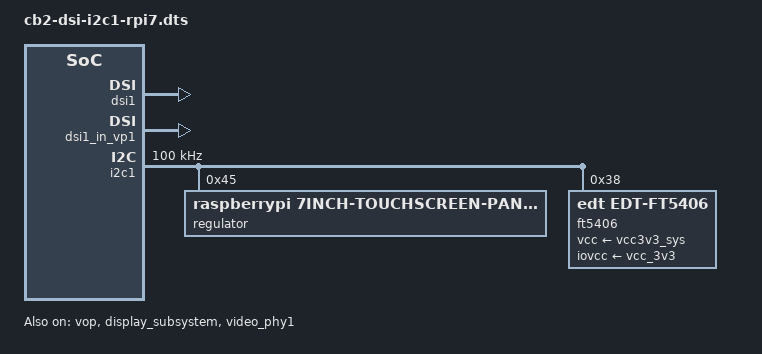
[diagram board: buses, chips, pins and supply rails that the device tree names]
/dts-v1/;
/plugin/;

/ {
	metadata {
		title = "CB2 DSI1 Raspberry Pi 7-inch panel control on I2C1";
		compatible = "bigtreetech,cb2";
		category = "display";
		description = "Enable CB2 DSI1 and move the Raspberry Pi 7-inch display MCU from I2C2 to I2C1 (GPIO0_B3/GPIO0_B4).";
	};

	fragment@0 {
		target = <&vop>;
		__overlay__ {
			status = "okay";
		};
	};

	fragment@1 {
		target = <&vop_mmu>;
		__overlay__ {
			status = "okay";
		};
	};

	fragment@2 {
		target = <&display_subsystem>;
		__overlay__ {
			status = "okay";
		};
	};

	fragment@3 {
		target = <&dsi1>;
		__overlay__ {
			status = "okay";
		};
	};

	fragment@4 {
		target = <&dsi1_panel>;
		__overlay__ {
			status = "okay";
		};
	};

	fragment@5 {
		target = <&dsi1_in_vp1>;
		__overlay__ {
			status = "okay";
		};
	};

	fragment@6 {
		target = <&video_phy1>;
		__overlay__ {
			status = "okay";
		};
	};

	fragment@7 {
		target = <&i2c1>;
		__overlay__ {
			status = "okay";
			clock-frequency = <100000>;
			pinctrl-names = "default";
			pinctrl-0 = <&i2c1_xfer>;
			#address-cells = <1>;
			#size-cells = <0>;

			regulator@45 {
				compatible = "raspberrypi,7inch-touchscreen-panel-regulator";
				reg = <0x45>;
				status = "okay";
			};

			ft5406@38 {
				compatible = "edt,edt-ft5406";
				reg = <0x38>;
				vcc-supply = <&vcc3v3_sys>;
				iovcc-supply = <&vcc_3v3>;
				touchscreen-size-x = <800>;
				touchscreen-size-y = <480>;
				touchscreen-inverted-x;
				touchscreen-inverted-y;
				status = "okay";
			};
		};
	};
};
